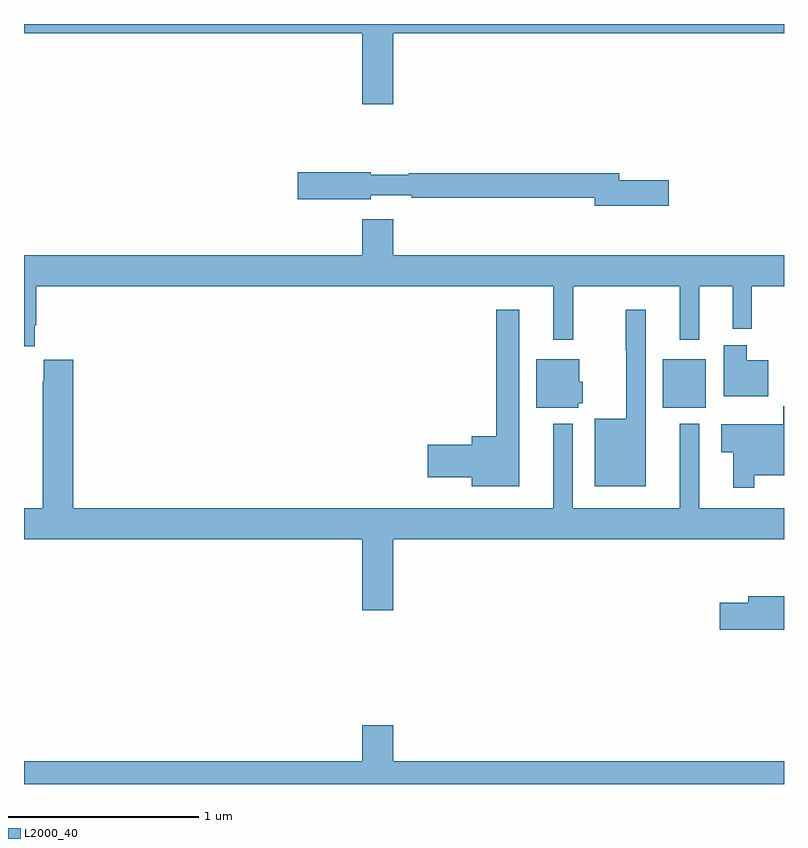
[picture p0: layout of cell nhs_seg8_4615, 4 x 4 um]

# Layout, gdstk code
import gdstk
lib = gdstk.Library(unit=1e-6, precision=1e-09)
def R(c, l, rs):  # rectangles x0, y0, x1, y1
    for r in rs: c.add(gdstk.rectangle(r[:2], r[2:], *l))
def P(c, l, *ps):  # polygons
    for p in ps: c.add(gdstk.Polygon(p, *l))
L2000_40 = (2000, 40)

nhs_seg8_4615 = lib.new_cell('nhs_seg8_4615')
R(nhs_seg8_4615, L2000_40, [(394.361,1095.881,394.588,1096.135)])
P(nhs_seg8_4615, L2000_40, [(392.944,1097.852),(395,1097.852),(395,1097.9),(391,1097.9),(391,1097.852),(392.78,1097.852),(392.78,1097.478),(392.944,1097.478)],
  [(394.393,1097.078),(394.132,1097.078),(394.132,1097.114),(393.026,1097.114),(393.026,1097.107),(392.826,1097.107),(392.826,1097.12),(392.442,1097.12),(392.442,1096.978),(392.826,1096.978),(392.826,1096.998),(393.04,1096.998),(393.04,1096.986),(394.004,1096.986),(394.004,1096.943),(394.393,1096.943)],
  [(391.057,1096.315),(391.064,1096.315),(391.064,1096.52),(393.785,1096.52),(393.785,1096.239),(393.892,1096.239),(393.892,1096.52),(394.451,1096.52),(394.451,1096.239),(394.555,1096.239),(394.555,1096.52),(394.73,1096.52),(394.73,1096.295),(394.829,1096.295),(394.829,1096.52),(395,1096.52),(395,1096.684),(392.944,1096.684),(392.944,1096.873),(392.78,1096.873),(392.78,1096.684),(391,1096.684),(391,1096.203),(391.057,1096.203)],
  [(394.273,1096.396),(394.167,1096.396),(394.167,1096.183),(394.169,1096.183),(394.169,1095.823),(394.004,1095.823),(394.004,1095.467),(394.273,1095.467)],
  [(393.607,1096.396),(393.486,1096.396),(393.486,1095.73),(393.356,1095.73),(393.356,1095.686),(393.126,1095.686),(393.126,1095.515),(393.356,1095.515),(393.356,1095.467),(393.607,1095.467)],
  [(394.918,1096.129),(394.804,1096.129),(394.804,1096.21),(394.682,1096.21),(394.682,1095.941),(394.918,1095.941)],
  [(393.918,1095.903),(393.94,1095.903),(393.94,1096.017),(393.922,1096.017),(393.922,1096.135),(393.695,1096.135),(393.695,1095.881),(393.918,1095.881)],
  [(395,1095.352),(394.555,1095.352),(394.555,1095.796),(394.451,1095.796),(394.451,1095.352),(393.889,1095.352),(393.889,1095.796),(393.785,1095.796),(393.785,1095.352),(391.259,1095.352),(391.259,1096.132),(391.103,1096.132),(391.103,1096.019),(391.099,1096.019),(391.099,1095.352),(391,1095.352),(391,1095.188),(392.78,1095.188),(392.78,1094.814),(392.944,1094.814),(392.944,1095.188),(395,1095.188)],
  [(394.843,1095.524),(395,1095.524),(395,1095.889),(394.995,1095.889),(394.995,1095.793),(394.67,1095.793),(394.67,1095.646),(394.733,1095.646),(394.733,1095.459),(394.843,1095.459)],
  [(395,1094.887),(394.811,1094.887),(394.811,1094.853),(394.662,1094.853),(394.662,1094.711),(395,1094.711)],
  [(395,1094.02),(392.944,1094.02),(392.944,1094.209),(392.78,1094.209),(392.78,1094.02),(391,1094.02),(391,1093.9),(395,1093.9)])

lib.write_gds('nhs_seg8_4615.gds')
